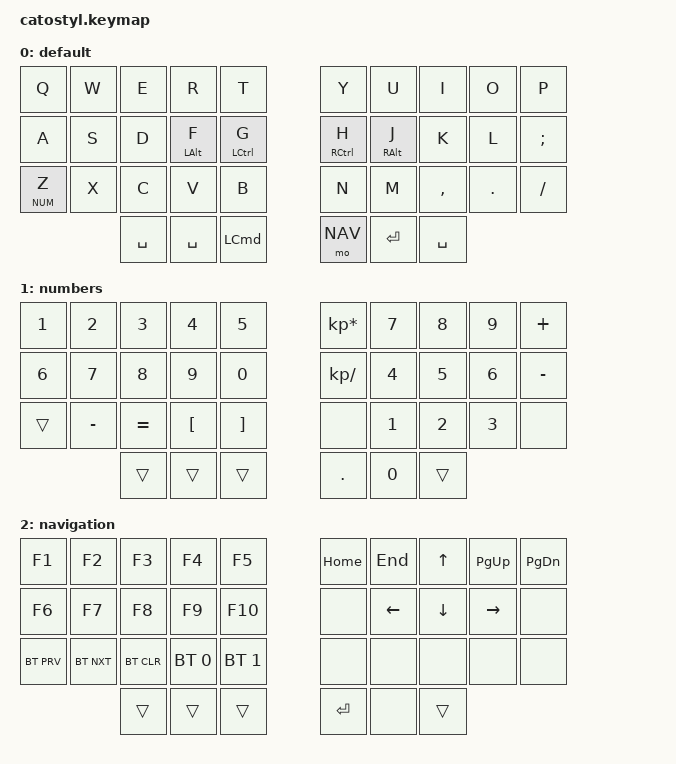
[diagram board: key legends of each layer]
#include <behaviors.dtsi>
#include <dt-bindings/zmk/bt.h>
#include <dt-bindings/zmk/keys.h>

#define DEF 0
#define NUM 1
#define NAV 2

&mt {
    tapping-term-ms = <200>;
    flavor = "tap-preferred";
};

/ {
    combos {
        compatible = "zmk,combos";

        cb_esc {
            bindings = <&kp ESC>;
            key-positions = <1 2>;
            timeout-ms = <80>;
        };
    };

    keymap {
        compatible = "zmk,keymap";

        default {
            bindings = <
&kp Q      &kp W  &kp E       &kp R       &kp T               &kp Y        &kp U       &kp I      &kp O    &kp P
&kp A      &kp S  &kp D       &mt LALT F  &mt LCTRL G         &mt RCTRL H  &mt RALT J  &kp K      &kp L    &kp SEMI
&lt NUM Z  &kp X  &kp C       &kp V       &kp B               &kp N        &kp M       &kp COMMA  &kp DOT  &kp FSLH
                  &kp SPACE   &kp SPACE   &kp LEFT_COMMAND    &mo NAV      &kp ENTER   &kp SPACE
            >;
        };

        numbers {
            bindings = <
&kp N1  &kp N2     &kp N3     &kp N4    &kp N5      &kp KP_MULTIPLY  &kp N7   &kp N8  &kp N9  &kp PLUS
&kp N6  &kp N7     &kp N8     &kp N9    &kp N0      &kp KP_DIVIDE    &kp N4   &kp N5  &kp N6  &kp MINUS
&trans  &kp MINUS  &kp EQUAL  &kp LBKT  &kp RBKT    &none            &kp N1   &kp N2  &kp N3  &none
                   &trans     &trans    &trans      &kp DOT          &kp N0   &trans
            >;
        };

        navigation {
            bindings = <
&kp F1      &kp F2      &kp F3      &kp F4        &kp F5        &kp HOME   &kp END   &kp UP    &kp PG_UP  &kp PG_DN
&kp F6      &kp F7      &kp F8      &kp F9        &kp F10       &none      &kp LEFT  &kp DOWN  &kp RIGHT  &none
&bt BT_PRV  &bt BT_NXT  &bt BT_CLR  &bt BT_SEL 0  &bt BT_SEL 1  &none      &none     &none     &none      &none
                        &trans      &trans        &trans        &kp ENTER  &none     &trans
            >;
        };
    };
};
